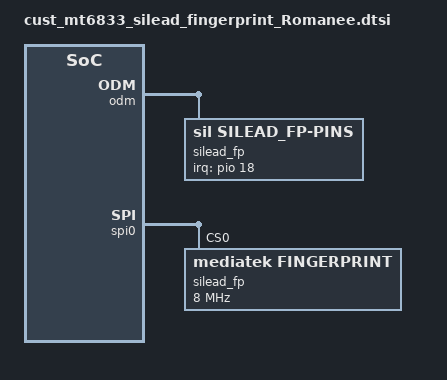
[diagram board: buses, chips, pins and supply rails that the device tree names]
/**
* Chipone fpsensor GPIO define. begjin.
**/

&odm {
 	silead_fp: silead_fp@ {
 	   compatible = "sil,silead_fp-pins";
    };
};

/* SILEAD_FINGERPRINT start */
&spi0 {
	#address-cells = <1>;
	#size-cells = <0>;
	spi-max-frequency = <4000000>;
	status = "okay";

	silead_fp@0 {
	    compatible = "mediatek,fingerprint";
	    reg = <0>;
	    spi-id = <0>;
	    spi-irq = <160>;
	    spi-reg = <0x11010000>;
	    spi-max-frequency = <8000000>;
	    status = "okay";
    };
};


&pio {
    silfp_default: silfpdefault {
    };

    silfp_rst_high: state_reset_high {
        pins_cmd_dat {
        pinmux = <PINMUX_GPIO21__FUNC_GPIO21>;
        slew-rate = <1>;
        output-high;
        };
    };

    silfp_rst_low: state_reset_low {
        pins_cmd_dat {
            pinmux = <PINMUX_GPIO21__FUNC_GPIO21>;
            slew-rate = <1>;
            output-low;
        };
    };

    silfp_irq: fp_eint@18 {
        pins_cmd_dat {
            pinmux = <PINMUX_GPIO18__FUNC_GPIO18>;
            slew-rate = <0>;
            bias-pull-down = <00>;
        };
    };

    silfp_irq_low: state_irq_low {
        pins_cmd_dat {
            pinmux = <PINMUX_GPIO18__FUNC_GPIO18>;
            slew-rate = <1>;
            output-low;
        };
    };
};

&pio {
    fingerprint_pins_default: fp_default {
        pins_cmd_dat {
            pinmux = <PINMUX_GPIO24__FUNC_SPI0_CSB>;
            slew-rate = <1>;
            bias-pull-up;
        };

        pins_cmd2_dat {
            pinmux = <PINMUX_GPIO23__FUNC_SPI0_CLK>;
            slew-rate = <1>;
            bias-pull-down;
        };

        pins_cmd3_dat {
            pinmux = <PINMUX_GPIO26__FUNC_SPI0_MI>;
            slew-rate = <0>;
            bias-pull-down;
        };

        pins_cmd4_dat {
            pinmux = <PINMUX_GPIO25__FUNC_SPI0_MO>;
            slew-rate = <1>;
            bias-pull-down;
        };
    };
};

&silead_fp {
	pinctrl-names = "default", "rst-low", "rst-high",
	                "irq-init", "spi-default", "irq-low";
	pinctrl-0 = <&silfp_default>;
	pinctrl-1 = <&silfp_rst_low>;
	pinctrl-2 = <&silfp_rst_high>;
	pinctrl-3 = <&silfp_irq>;
	pinctrl-4 = <&fingerprint_pins_default>;
	pinctrl-5 = <&silfp_irq_low>;

	interrupt-parent = <&pio>;
	interrupts = <18 IRQ_TYPE_EDGE_RISING 18 0>;
	status = "okay";
};
